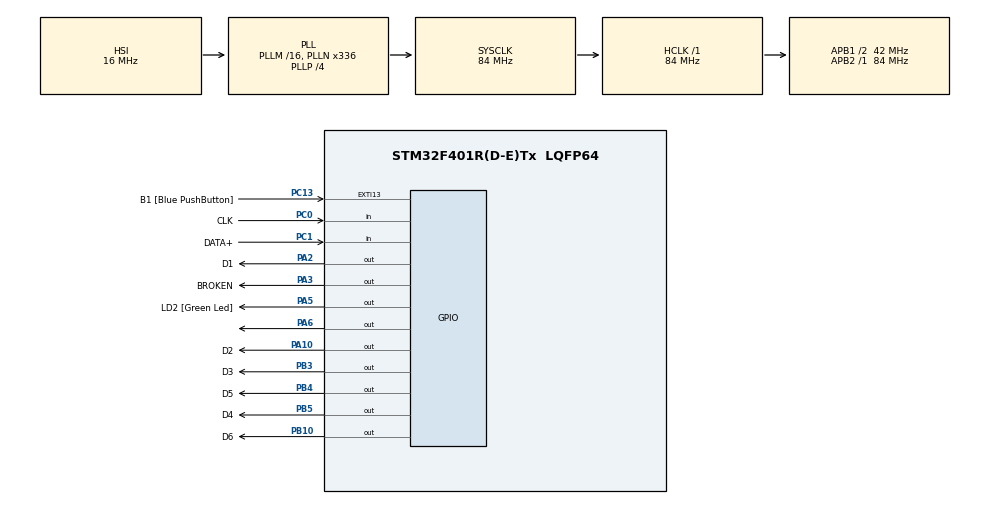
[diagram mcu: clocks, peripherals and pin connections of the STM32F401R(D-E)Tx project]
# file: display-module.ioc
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Mcu.Family=STM32F4
Mcu.Name=STM32F401R(D-E)Tx
Mcu.Package=LQFP64
NVIC.PriorityGroup=NVIC_PRIORITYGROUP_0
NVIC.TIM3_IRQn=true\:0\:0\:false\:false\:true\:true\:true\:true
PA10.GPIO_Label=D2
PA10.Signal=GPIO_Output
PA13.GPIO_Label=TMS
PA13.Mode=Serial_Wire
PA13.Signal=SYS_JTMS-SWDIO
PA14.GPIO_Label=TCK
PA14.Mode=Serial_Wire
PA14.Signal=SYS_JTCK-SWCLK
PA2.GPIO_Label=D1
PA2.Signal=GPIO_Output
PA3.GPIO_Label=BROKEN
PA3.Signal=GPIO_Output
PA5.GPIO_Label=LD2 [Green Led]
PA5.GPIO_Mode=GPIO_MODE_OUTPUT_PP
PA5.GPIO_PuPd=GPIO_NOPULL
PA5.GPIO_Speed=GPIO_SPEED_FREQ_LOW
PA5.Signal=GPIO_Output
PA6.Signal=GPIO_Output
PB10.GPIO_Label=D6
PB10.Signal=GPIO_Output
PB3.GPIO_Label=D3
PB3.Signal=GPIO_Output
PB4.GPIO_Label=D5
PB4.Signal=GPIO_Output
PB5.GPIO_Label=D4
PB5.Signal=GPIO_Output
PC0.GPIO_Label=CLK
PC0.Signal=GPIO_Input
PC1.GPIO_Label=DATA+
PC1.Signal=GPIO_Input
PC13-ANTI_TAMP.GPIO_Label=B1 [Blue PushButton]
PC13-ANTI_TAMP.GPIO_ModeDefaultEXTI=GPIO_MODE_IT_FALLING
PC13-ANTI_TAMP.GPIO_PuPd=GPIO_NOPULL
PC13-ANTI_TAMP.Signal=GPXTI13
PC14-OSC32_IN.Mode=LSE-External-Oscillator
PC14-OSC32_IN.Signal=RCC_OSC32_IN
PC15-OSC32_OUT.Mode=LSE-External-Oscillator
PC15-OSC32_OUT.Signal=RCC_OSC32_OUT
PH0\ -\ OSC_IN.Mode=HSE-External-Clock-Source
PH0\ -\ OSC_IN.Signal=RCC_OSC_IN
PH1\ -\ OSC_OUT.Mode=HSE-External-Clock-Source
PH1\ -\ OSC_OUT.Signal=RCC_OSC_OUT
ProjectManager.HeapSize=0x200
ProjectManager.StackSize=0x400
ProjectManager.TargetToolchain=STM32CubeIDE
RCC.48MHZClocksFreq_Value=48000000
RCC.AHBFreq_Value=84000000
RCC.APB1CLKDivider=RCC_HCLK_DIV2
RCC.APB1Freq_Value=42000000
RCC.APB1TimFreq_Value=84000000
RCC.APB2Freq_Value=84000000
RCC.APB2TimFreq_Value=84000000
RCC.CortexFreq_Value=84000000
RCC.HCLKFreq_Value=84000000
RCC.HSE_VALUE=8000000
RCC.HSI_VALUE=16000000
RCC.PLLN=336
RCC.PLLP=RCC_PLLP_DIV4
RCC.PLLQ=7
RCC.SYSCLKFreq_VALUE=84000000
RCC.SYSCLKSource=RCC_SYSCLKSOURCE_PLLCLK
RCC.VCOOutputFreq_Value=336000000
TIM3.Period=41999
TIM3.Prescaler=13
VP_TIM3_VS_ClockSourceINT.Mode=Internal
board=NUCLEO-F401RE

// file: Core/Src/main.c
/* USER CODE BEGIN Header */
/**
  ******************************************************************************
  * @file           : main.c
  * @brief          : Main program body
  ******************************************************************************
  * @attention
  *
  * Copyright (c) 2024 STMicroelectronics.
  * All rights reserved.
  *
  * This software is licensed under terms that can be found in the LICENSE file
  * in the root directory of this software component.
  * If no LICENSE file comes with this software, it is provided AS-IS.
  *
  ******************************************************************************
  */
/* USER CODE END Header */
#include "main.h"

/* USER CODE BEGIN Includes */
#define NO_LC_TIM

#include "i2c_rx.h"
#include <string.h>
#include <stdbool.h>
#include <stdio.h>
#include <math.h>
#include "ham.h"
#include "lcd.h"
#include "lsr.h"

/* USER CODE END Includes */

/* USER CODE BEGIN PD */

uint16_t int16_from_bool(bool arr[16]) {
	uint16_t total = 0;
	for (int i = 0; i < 16; i++) {
		total = total * 2 + arr[i];
	}
	return total;
}

/* USER CODE END PD */

TIM_HandleTypeDef htim3;

/* USER CODE BEGIN PV */

volatile I2C_rx_driver i2c_dr;

void HAL_TIM_PeriodElapsedCallback(TIM_HandleTypeDef *htim){
	tick_I2C_rx_driver(&i2c_dr);
}

// given a new weight reading from the load cell, determine if it is different
// enough to be worth adding to the lsr data, and if it is, update the lsr root
void lsr_packet(float total_weight, uint32_t t0, uint32_t *index, float lc_data[], uint32_t time_data[], int32_t *root_tick) {
	if (total_weight < 20.0) {
		return;
	}
	if (*index != 0 && fabs(total_weight - lc_data[*index - 1]) < 20)
		return;
	lc_data[*index] = total_weight;
	time_data[*index] = HAL_GetTick() - t0;
	*index = *index + 1u;

	if (*index >= 2) {
		*root_tick = lsr_root(time_data, lc_data, *index);
	}
}

float get_packet(float lc_const) {
	bool data[48];
	memcpy(data, get_I2C_driver(&i2c_dr), 48);
	reset_I2C_driver(&i2c_dr);

	uint16_t data1 = ham_dec(int16_from_bool(data));
	uint16_t data2 = ham_dec(int16_from_bool(data + 16));
	uint16_t data3 = ham_dec(int16_from_bool(data + 32));

	__NOP();

	if (data1 == (uint16_t)-1 || data2 == (uint16_t)-1 ||
			data3 == (uint16_t)-1)
		return -1;
	else
		return (data1 << 22 | data2 << 11 | data3) * lc_const;
}

/* USER CODE END PV */

void SystemClock_Config(void);
static void MX_GPIO_Init(void);
static void MX_TIM3_Init(void);

int main(void)
{

  /* MCU Configuration--------------------------------------------------------*/

  /* Reset of all peripherals, Initializes the Flash interface and the Systick. */
  HAL_Init();

  /* Configure the system clock */
  SystemClock_Config();

  /* Initialize all configured peripherals */
  MX_GPIO_Init();
  MX_TIM3_Init();
  /* USER CODE BEGIN 2 */

	I2C_rx_config i2c;
	i2c.clock_gpio = GPIOC;
	i2c.clock_pin = GPIO_PIN_0;
	i2c.data_gpio = GPIOC;
	i2c.data_pin = GPIO_PIN_1;
	bool data[48];
	i2c_dr = new_I2C_rx_driver(i2c, data, 48, 1000);

	lcd_t lcd;
	lcd.gpio_etc = GPIOA;
	lcd.gpio_data = GPIOB;
	lcd.pin_select = GPIO_PIN_10;
	lcd.pin_enable = GPIO_PIN_6;
	lcd.pin1 = GPIO_PIN_3;
	lcd.pin2 = GPIO_PIN_5;
	lcd.pin3 = GPIO_PIN_4;
	lcd.pin4 = GPIO_PIN_10;

	lcd_reset(&lcd);
	lcd_cur1(&lcd, 0);
	lcd_str(&lcd, "Press button to");
	lcd_cur2(&lcd, 0);
	lcd_str(&lcd, "tare weight.");

	uint32_t t0;
	float empty = 999999;
	float lc_const = 0.00122;

	volatile uint32_t index = 0;
	uint32_t time_data[500];
	float lc_data[500];
	int32_t root_tick = 0;

	HAL_TIM_Base_Start_IT(&htim3);

	float weight;

	bool hasPacket = false;
	bool wasPressed = false;
	while (1) {
		if (poll_I2C_driver(&i2c_dr)) {
			weight = get_packet(lc_const);
			__NOP();
			hasPacket = true;
		}
		wasPressed |= HAL_GPIO_ReadPin(GPIOC, GPIO_PIN_13);
		if (wasPressed && !HAL_GPIO_ReadPin(GPIOC, GPIO_PIN_13) && hasPacket) {
			empty = weight;
			index = 0;
			t0 = HAL_GetTick();

			char buf[24] = {};
			snprintf(buf, 16, "zeroed at %5fg", weight);
			lcd_clear(&lcd);
			lcd_str(&lcd, "device has been");
			lcd_cur2(&lcd, 0);
			lcd_str(&lcd, buf);
			break;

		}
	}

	HAL_Delay(1000);
	uint32_t next_lcd_update = HAL_GetTick() + 1000;
	lcd_clear(&lcd);
	char buffer[16];
	weight = weight - empty;
	if(weight < 0)
		weight = 0.0;
	snprintf(buffer, 16, "Cur. mass:%5.2fg", fabs(weight));
	lcd_str(&lcd, buffer);
	lcd_cur2(&lcd, 0);
	lcd_str(&lcd, "Not enough data!");

  /* USER CODE END 2 */

  /* Infinite loop */
  while (1)
  {

    /* USER CODE BEGIN 3 */
	if (poll_I2C_driver(&i2c_dr)) {
		weight = get_packet(lc_const) - empty;

		lsr_packet(weight, t0, &index, lc_data, time_data, &root_tick);
		__NOP();
	}

	int32_t time_to_empty = (root_tick - (int32_t) HAL_GetTick()) / 1000;

		if (HAL_GetTick() > next_lcd_update) {
			next_lcd_update += 1000;

			char buf[7] = {};
			if(weight < 0)
				weight = 0.0;
			if(weight < 48){
				//snprintf(buf, 6, "%.2gg*", weight);
				lcd_cur1(&lcd, 0);
				lcd_str(&lcd, "!LOW");
				lcd_cur1(&lcd, 10);
				snprintf(buf, 7, "%5.2fg", weight);
				lcd_str(&lcd, buf);
			}else{
				lcd_cur1(&lcd, 0);
				lcd_str(&lcd, "Est.");
				lcd_cur1(&lcd, 10);
				snprintf(buf, 7, "%5.2fg", weight);
				lcd_str(&lcd, buf);
			}
			//snprintf(buf, 7, "%.3fg", weight);
			//lcd_clear(&lcd);
			lcd_cur2(&lcd, 0);
			if (index == 2)
				lcd_str(&lcd, "Est. time:");

			lcd_cur2(&lcd, 10);
			char buffer[6];
			if(time_to_empty <= 0 && index > 1) {
	            lcd_cur2(&lcd, 10);
	            lcd_str(&lcd, " NOW! ");
	        } else if(time_to_empty < 60 && index > 1) {
	            lcd_cur2(&lcd, 10);
	            char buffer[6];
	            snprintf(buffer, 7, "%3ds ", time_to_empty);
	            lcd_str(&lcd, buffer);
	        } else if(time_to_empty < 3600 && index > 1) {
	            lcd_cur2(&lcd, 10);
	            char buffer[6];
	            snprintf(buffer, 7, "%3dm ", time_to_empty / 60);
	            lcd_str(&lcd, buffer);
	        } else if(time_to_empty < 86400 && index > 1) {
	            lcd_cur2(&lcd, 10);
	            char buffer[6];
	            snprintf(buffer, 7, "%3dh ", time_to_empty / 3600);
	            lcd_str(&lcd, buffer);
	        }else if(index > 1){
	            lcd_cur2(&lcd, 10);
	            char buffer[6];
	            snprintf(buffer, 7, "%3dd ", time_to_empty / 86400);
	            lcd_str(&lcd, buffer);
	        }
		}
  }
  /* USER CODE END 3 */
}

void SystemClock_Config(void)
{
  RCC_OscInitTypeDef RCC_OscInitStruct = {0};
  RCC_ClkInitTypeDef RCC_ClkInitStruct = {0};

  /** Configure the main internal regulator output voltage
  */
  __HAL_RCC_PWR_CLK_ENABLE();
  __HAL_PWR_VOLTAGESCALING_CONFIG(PWR_REGULATOR_VOLTAGE_SCALE2);

  /** Initializes the RCC Oscillators according to the specified parameters
  * in the RCC_OscInitTypeDef structure.
  */
  RCC_OscInitStruct.OscillatorType = RCC_OSCILLATORTYPE_HSI;
  RCC_OscInitStruct.HSIState = RCC_HSI_ON;
  RCC_OscInitStruct.HSICalibrationValue = RCC_HSICALIBRATION_DEFAULT;
  RCC_OscInitStruct.PLL.PLLState = RCC_PLL_ON;
  RCC_OscInitStruct.PLL.PLLSource = RCC_PLLSOURCE_HSI;
  RCC_OscInitStruct.PLL.PLLM = 16;
  RCC_OscInitStruct.PLL.PLLN = 336;
  RCC_OscInitStruct.PLL.PLLP = RCC_PLLP_DIV4;
  RCC_OscInitStruct.PLL.PLLQ = 7;
  if (HAL_RCC_OscConfig(&RCC_OscInitStruct) != HAL_OK)
  {
    Error_Handler();
  }

  /** Initializes the CPU, AHB and APB buses clocks
  */
  RCC_ClkInitStruct.ClockType = RCC_CLOCKTYPE_HCLK|RCC_CLOCKTYPE_SYSCLK
                              |RCC_CLOCKTYPE_PCLK1|RCC_CLOCKTYPE_PCLK2;
  RCC_ClkInitStruct.SYSCLKSource = RCC_SYSCLKSOURCE_PLLCLK;
  RCC_ClkInitStruct.AHBCLKDivider = RCC_SYSCLK_DIV1;
  RCC_ClkInitStruct.APB1CLKDivider = RCC_HCLK_DIV2;
  RCC_ClkInitStruct.APB2CLKDivider = RCC_HCLK_DIV1;

  if (HAL_RCC_ClockConfig(&RCC_ClkInitStruct, FLASH_LATENCY_2) != HAL_OK)
  {
    Error_Handler();
  }
}

static void MX_TIM3_Init(void)
{

  TIM_ClockConfigTypeDef sClockSourceConfig = {0};
  TIM_MasterConfigTypeDef sMasterConfig = {0};

  htim3.Instance = TIM3;
  htim3.Init.Prescaler = 13;
  htim3.Init.CounterMode = TIM_COUNTERMODE_UP;
  htim3.Init.Period = 41999;
  htim3.Init.ClockDivision = TIM_CLOCKDIVISION_DIV1;
  htim3.Init.AutoReloadPreload = TIM_AUTORELOAD_PRELOAD_DISABLE;
  if (HAL_TIM_Base_Init(&htim3) != HAL_OK)
  {
    Error_Handler();
  }
  sClockSourceConfig.ClockSource = TIM_CLOCKSOURCE_INTERNAL;
  if (HAL_TIM_ConfigClockSource(&htim3, &sClockSourceConfig) != HAL_OK)
  {
    Error_Handler();
  }
  sMasterConfig.MasterOutputTrigger = TIM_TRGO_RESET;
  sMasterConfig.MasterSlaveMode = TIM_MASTERSLAVEMODE_DISABLE;
  if (HAL_TIMEx_MasterConfigSynchronization(&htim3, &sMasterConfig) != HAL_OK)
  {
    Error_Handler();
  }

}

static void MX_GPIO_Init(void)
{
  GPIO_InitTypeDef GPIO_InitStruct = {0};

  /* GPIO Ports Clock Enable */
  __HAL_RCC_GPIOC_CLK_ENABLE();
  __HAL_RCC_GPIOH_CLK_ENABLE();
  __HAL_RCC_GPIOA_CLK_ENABLE();
  __HAL_RCC_GPIOB_CLK_ENABLE();

  /*Configure GPIO pin Output Level */
  HAL_GPIO_WritePin(GPIOA, D1_Pin|BROKEN_Pin|LD2_Pin|GPIO_PIN_6
                          |D2_Pin, GPIO_PIN_RESET);

  /*Configure GPIO pin Output Level */
  HAL_GPIO_WritePin(GPIOB, D6_Pin|D3_Pin|D5_Pin|D4_Pin, GPIO_PIN_RESET);

  /*Configure GPIO pin : B1_Pin */
  GPIO_InitStruct.Pin = B1_Pin;
  GPIO_InitStruct.Mode = GPIO_MODE_IT_FALLING;
  GPIO_InitStruct.Pull = GPIO_NOPULL;
  HAL_GPIO_Init(B1_GPIO_Port, &GPIO_InitStruct);

  /*Configure GPIO pins : CLK_Pin DATA__Pin */
  GPIO_InitStruct.Pin = CLK_Pin|DATA__Pin;
  GPIO_InitStruct.Mode = GPIO_MODE_INPUT;
  GPIO_InitStruct.Pull = GPIO_NOPULL;
  HAL_GPIO_Init(GPIOC, &GPIO_InitStruct);

  /*Configure GPIO pins : D1_Pin BROKEN_Pin LD2_Pin PA6
                           D2_Pin */
  GPIO_InitStruct.Pin = D1_Pin|BROKEN_Pin|LD2_Pin|GPIO_PIN_6
                          |D2_Pin;
  GPIO_InitStruct.Mode = GPIO_MODE_OUTPUT_PP;
  GPIO_InitStruct.Pull = GPIO_NOPULL;
  GPIO_InitStruct.Speed = GPIO_SPEED_FREQ_LOW;
  HAL_GPIO_Init(GPIOA, &GPIO_InitStruct);

  /*Configure GPIO pins : D6_Pin D3_Pin D5_Pin D4_Pin */
  GPIO_InitStruct.Pin = D6_Pin|D3_Pin|D5_Pin|D4_Pin;
  GPIO_InitStruct.Mode = GPIO_MODE_OUTPUT_PP;
  GPIO_InitStruct.Pull = GPIO_NOPULL;
  GPIO_InitStruct.Speed = GPIO_SPEED_FREQ_LOW;
  HAL_GPIO_Init(GPIOB, &GPIO_InitStruct);

}

void Error_Handler(void)
{
  __disable_irq();
  while (1)
  {
  }
}
